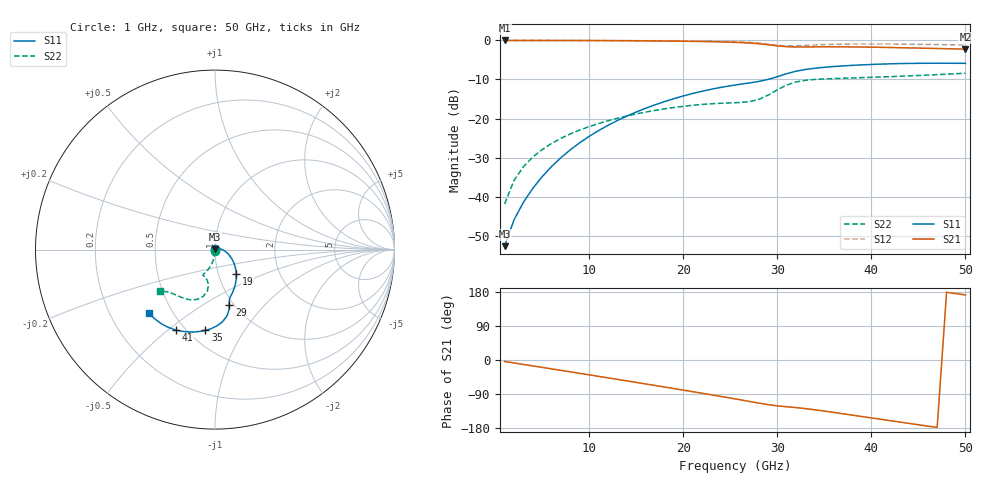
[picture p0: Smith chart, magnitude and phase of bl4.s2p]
! Impedora 0.10.0 via model, case bl4 (fullwave/cases.json), 2026-11-19
! Blind via as bl2 with the four stitching vias twice as far out, at 1.6 mm: with its pads and traces, ports at the far end of each trace, after the 3D port calibration.
! Ports: 1 = upper end, 2 = lower end, 50 ohm.
! Compared with the edge 3D mesh.
# Hz S RI R 50
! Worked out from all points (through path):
!   50 points, 1 GHz to 50 GHz, reference 50 ohm
!   highest |S21| = 0.00 dB at 1 GHz (marker M1); lowest = -2.2 dB at 50 GHz (marker M2)
!   group delay of S21, straight-line fit = 10.5 ps
!   lowest |S11| = -52.7 dB at 1 GHz (marker M3), VSWR 1.00, Z = 50.1 + j0.221 ohm
!   |S11| at or under -10 dB: start of sweep to 29 GHz
!   |S22| runs from -41.9 to -8.4 dB; largest |S21 - S12| = 1.5
!   S11 on the Smith chart (normalised r, x): 1 GHz: 1.00, +0.00; 19 GHz: 1.22, -0.34; 29 GHz: 0.96, -0.65; 35 GHz: 0.61, -0.69; 41 GHz: 0.45, -0.53; 50 GHz: 0.37, -0.35
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1e9  0.000697 0.00221  0.9977 -0.068  0.9997 -0.0219  -0.000176 -0.00806
2e9  0.00277 0.00421  0.9907 -0.1357  0.9989 -0.0437  -0.000703 -0.0161
3e9  0.00618 0.00577  0.9791 -0.2029  0.9975 -0.0656  -0.00158 -0.0241
4e9  0.0109 0.00671  0.9629 -0.2691  0.9956 -0.0874  -0.0028 -0.032
5e9  0.0167 0.00682  0.9422 -0.3342  0.9931 -0.1091  -0.00437 -0.0399
7e9  0.0314 0.00386  0.8872 -0.4595  0.9865 -0.1525  -0.0085 -0.0552
1e10  0.0582 -0.0107  0.7728 -0.6308  0.9725 -0.2169  -0.017 -0.077
1.4e10  0.0941 -0.052  0.5671 -0.815  0.9461 -0.3017  -0.0321 -0.1029
1.8e10  0.1165 -0.1164  0.3154 -0.9318  0.9103 -0.3853  -0.0494 -0.1235
1.9e10  0.1185 -0.135  0.2477 -0.9488  0.8997 -0.4062  -0.0537 -0.1276
2.3e10  0.1085 -0.2112  -0.0315 -0.9631  0.8468 -0.4904  -0.0662 -0.1397
2.6e10  0.0873 -0.26  -0.2397 -0.9098  0.7861 -0.5521  -0.061 -0.1483
2.8e10  0.0787 -0.2874  -0.3639 -0.8326  0.7244 -0.5784  -0.0435 -0.17
2.9e10  0.0794 -0.3062  -0.4101 -0.7813  0.6904 -0.5759  -0.0364 -0.1953
3.1e10  0.0668 -0.3695  -0.4583 -0.6946  0.6597 -0.5421  -0.0654 -0.2605
3.2e10  0.0422 -0.4017  -0.481 -0.6698  0.6663 -0.5352  -0.0982 -0.2771
3.4e10  -0.0218 -0.4404  -0.5481 -0.6204  0.6773 -0.5549  -0.1533 -0.2772
3.5e10  -0.0535 -0.4501  -0.5849 -0.5882  0.6752 -0.5717  -0.1721 -0.2716
4.1e10  -0.2161 -0.4484  -0.7485 -0.326  0.6061 -0.6659  -0.2367 -0.2449
4.2e10  -0.2389 -0.4414  -0.7637 -0.2768  0.5903 -0.6784  -0.2445 -0.2421
4.6e10  -0.3159 -0.4013  -0.7899 -0.0782  0.5225 -0.7193  -0.2738 -0.234
5e10  -0.3689 -0.3511  -0.7664 0.1111  0.4529 -0.7462  -0.3041 -0.2288
